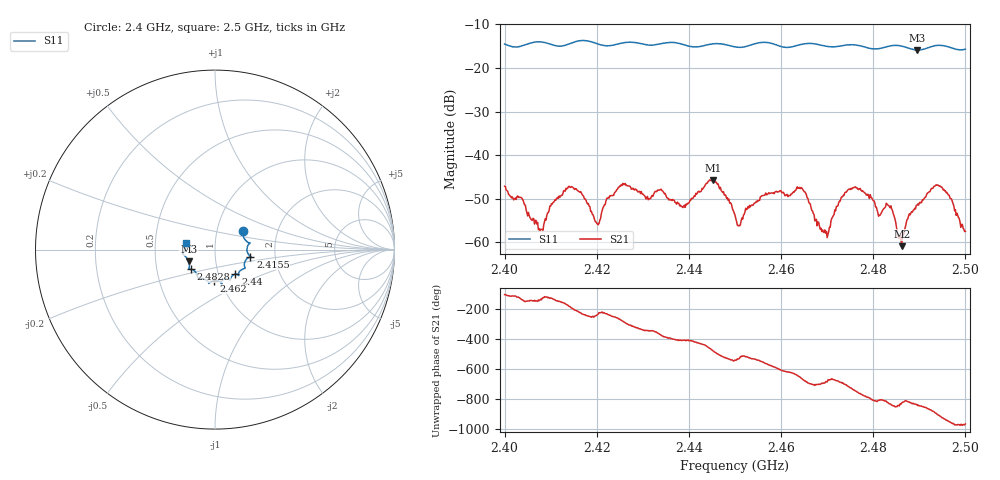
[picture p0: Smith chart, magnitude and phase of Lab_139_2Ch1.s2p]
# Hz S RI R 50
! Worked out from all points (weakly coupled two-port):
!   601 points, 2.4 GHz to 2.5 GHz, reference 50 ohm
!   highest |S21| = -45.69 dB at 2.4452 GHz (marker M1); lowest = -60.9 dB at 2.4862 GHz (marker M2)
!   lowest |S11| = -15.9 dB at 2.4895 GHz (marker M3), VSWR 1.38, Z = 37 - j5.01 ohm
!   |S11| at or under -10 dB: start of sweep to end of sweep
!   S12 and S22 are empty: the file has one direction only
!   S11 on the Smith chart (normalised r, x): 2.4 GHz: 1.33, +0.29; 2.4155 GHz: 1.49, -0.12; 2.44 GHz: 1.20, -0.34; 2.462 GHz: 0.93, -0.33; 2.4828 GHz: 0.74, -0.17; 2.5 GHz: 0.72, +0.06
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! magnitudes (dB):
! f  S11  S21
! 2.4 GHz  -14.5  -47.2
! 2.4078 GHz  -14.0  -57.0
! 2.4105 GHz  -14.7  -50.9
! 2.4155 GHz  -13.9  -47.7
! 2.4167 GHz  -13.7  -48.7
! 2.4202 GHz  -14.5  -55.9
! 2.4253 GHz  -14.3  -46.8
! 2.4333 GHz  -14.6  -48.0
! 2.44 GHz  -15.0  -51.0
! 2.4452 GHz  -14.5  -45.7
! 2.45 GHz  -15.2  -53.8
! 2.462 GHz  -15.2  -49.3
! 2.4643 GHz  -14.6  -47.5
! 2.4667 GHz  -14.4  -52.7
! 2.4697 GHz  -15.0  -57.9
! 2.475 GHz  -14.7  -47.9
! 2.4828 GHz  -15.1  -51.1
! 2.4833 GHz  -15.0  -51.6
! 2.4862 GHz  -15.0  -60.9
! 2.4895 GHz  -15.9  -51.5
! 2.4945 GHz  -14.8  -47.1
! 2.5 GHz  -15.7  -57.5
